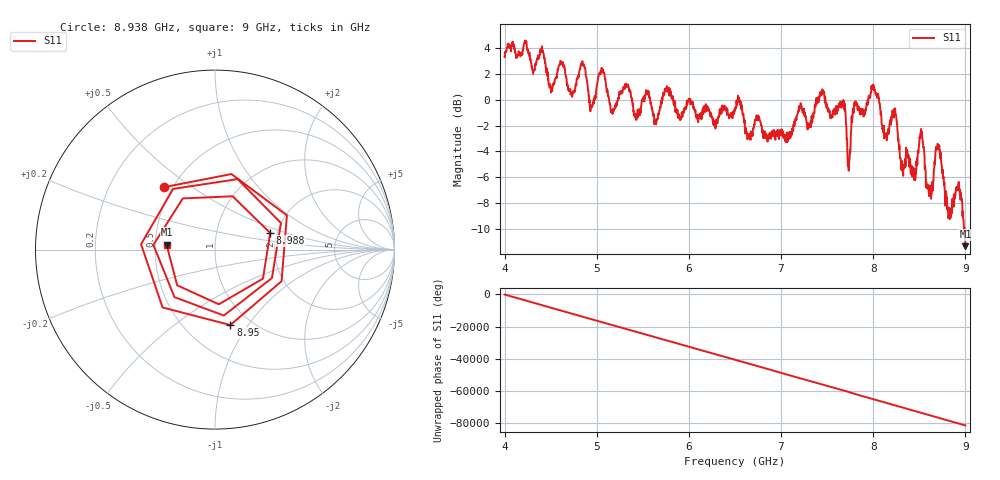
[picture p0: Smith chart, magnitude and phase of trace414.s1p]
! Created with skrf 1.8.0 (http://scikit-rf.org).
# Hz S RI R 50.0
!freq ReS11 ImS11
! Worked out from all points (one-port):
!   1601 points, 4 GHz to 9 GHz, reference 50 ohm
!   lowest |S11| = -11.3 dB at 9 GHz (marker M1), VSWR 1.75, Z = 28.7 + j1.76 ohm
!   |S11| at or under -10 dB: 8.983563 GHz to 8.985582 GHz (2.019 MHz wide, 0.0225 % of centre); 8.989702 GHz to end of sweep
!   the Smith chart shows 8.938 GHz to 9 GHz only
!   S11 on the Smith chart (normalised r, x): 8.938 GHz: 0.45, +0.39; 8.95 GHz: 0.81, -0.83; 8.988 GHz: 1.84, +0.38; 9 GHz: 0.57, +0.04
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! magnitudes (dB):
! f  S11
! 4 GHz  3.3
! 4.409 GHz  3.8
! 4.503 GHz  0.6
! 4.625 GHz  2.8
! 4.734 GHz  0.2
! 4.853 GHz  2.6
! 4.944 GHz  -0.5
! 5.05 GHz  2.2
! 5.162 GHz  -1.0
! 5.25 GHz  0.4
! 5.875 GHz  -0.8
! 6.5 GHz  -0.6
! 7.125 GHz  -2.2
! 7.444 GHz  0.7
! 7.672 GHz  -0.2
! 7.75 GHz  -4.1
! 7.803 GHz  -0.2
! 8 GHz  1.2
! 8.375 GHz  -4.4
! 8.447 GHz  -6.1
! 8.525 GHz  -2.4
! 8.622 GHz  -7.5
! 8.7 GHz  -3.4
! 8.828 GHz  -8.4
! 8.938 GHz  -6.9
! 8.95 GHz  -7.4
! 8.988 GHz  -9.9
! 9 GHz  -11.3
